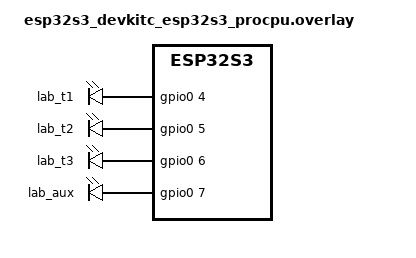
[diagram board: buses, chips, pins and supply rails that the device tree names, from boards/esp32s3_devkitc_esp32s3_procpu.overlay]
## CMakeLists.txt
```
cmake_minimum_required(VERSION 3.20.0)
find_package(Zephyr REQUIRED HINTS $ENV{ZEPHYR_BASE})
project(sched_labs)

target_sources(app PRIVATE src/main.c src/instr.c src/burn.c)
target_sources_ifdef(CONFIG_SCHED_LAB_RM  app PRIVATE src/lab06.c)
target_sources_ifdef(CONFIG_SCHED_LAB_EDF app PRIVATE src/lab06.c)
target_sources_ifdef(CONFIG_SCHED_LAB_NOLOCK    app PRIVATE src/lab07.c)
target_sources_ifdef(CONFIG_SCHED_LAB_INVERSION app PRIVATE src/lab07.c)
target_sources_ifdef(CONFIG_SCHED_LAB_PI        app PRIVATE src/lab07.c)
```

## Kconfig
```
choice SCHED_LAB
	prompt "Scheduling lab scenario"
	default SCHED_LAB_RM

config SCHED_LAB_RM
	bool "Lab 06 Task A: three periodic tasks, rate-monotonic fixed priorities"

config SCHED_LAB_EDF
	bool "Lab 06 Task A: the same three tasks, earliest deadline first"
	select SCHED_DEADLINE

config SCHED_LAB_NOLOCK
	bool "Lab 07 baseline: control never takes the lock"

config SCHED_LAB_INVERSION
	bool "Lab 07 Task B: a bare k_sem of 1 used as the lock (priority inversion)"

config SCHED_LAB_PI
	bool "Lab 07 Task C: a k_mutex as the lock (priority inheritance)"

endchoice

config SCHED_LAB_RUN_S
	int "Seconds the scenario runs before it stops and prints its summary"
	default 20
	range 1 300

source "Kconfig.zephyr"
```

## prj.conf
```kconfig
CONFIG_GPIO=y
CONFIG_SERIAL=y
CONFIG_CONSOLE=y
CONFIG_UART_CONSOLE=y
# 1 ms tick: the task set is expressed in whole milliseconds.
CONFIG_SYS_CLOCK_TICKS_PER_SEC=1000
# main only starts the scenario and prints; it must sit below every task.
CONFIG_MAIN_THREAD_PRIORITY=10
CONFIG_MAIN_STACK_SIZE=2048
# Equal-priority threads must not be time-sliced: EDF orders them by deadline.
CONFIG_TIMESLICING=n
```

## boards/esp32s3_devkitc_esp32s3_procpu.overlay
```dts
/*
 * ESP32-S3-DevKitC-1 instrumentation pins for the scheduling labs.
 * Four consecutive header pins -> channels D0..D3 of the logic analyzer.
 *
 *   D0 GPIO4  lab_t1   Lab 06: tau1 busy (first dispatch of a job -> completion)
 *                      Lab 07: control busy (first dispatch -> completion)
 *   D1 GPIO5  lab_t2   Lab 06: tau2 busy        Lab 07: medium busy
 *   D2 GPIO6  lab_t3   Lab 06: tau3 busy        Lab 07: slow task HOLDING the lock
 *   D3 GPIO7  lab_aux  Lab 06: deadline-miss latch (rises at the first miss)
 *                      Lab 07: control blocked, waiting for the lock
 *
 * Console: uart0 (UART jack), 115200 8N1.
 */

#include <zephyr/dt-bindings/gpio/gpio.h>

/ {
	instr {
		compatible = "gpio-leds";
		lab_t1: lab_t1 { gpios = <&gpio0 4 GPIO_ACTIVE_HIGH>; };
		lab_t2: lab_t2 { gpios = <&gpio0 5 GPIO_ACTIVE_HIGH>; };
		lab_t3: lab_t3 { gpios = <&gpio0 6 GPIO_ACTIVE_HIGH>; };
		lab_aux: lab_aux { gpios = <&gpio0 7 GPIO_ACTIVE_HIGH>; };
	};
};
```

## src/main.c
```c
/*
 * Scheduling labs (weeks 6 and 7): synthetic task sets on the ESP32-S3, measured
 * with the logic analyzer. The scenario is chosen at build time (see Kconfig).
 */
#include <zephyr/kernel.h>
#include <zephyr/sys/printk.h>

#include "burn.h"
#include "instr.h"
#include "scenario.h"

#define BURN_CHECK_MS 10 /* calibration self-check: burn this long, report wall time */

int main(void)
{
	int rc = instr_init();

	if (rc != 0) {
		printk("instrumentation pins failed (%d)\n", rc);
		return rc;
	}
	rc = burn_calibrate();
	if (rc != 0) {
		printk("burn calibration failed (%d)\n", rc);
		return rc;
	}

	printk("sched_labs: %s\n", scenario_name());
	printk("burn_ms(%d) took %u us with nothing else running\n", BURN_CHECK_MS,
	       burn_measure_us(BURN_CHECK_MS));

	rc = scenario_run();
	printk("scenario finished (%d)\n", rc);
	return rc;
}
```

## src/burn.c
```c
#include <errno.h>
#include <zephyr/kernel.h>

#include "burn.h"

#define CAL_ITERS 2000000U /* ~tens of ms: long enough to average the tick ISR out */

static uint32_t iters_per_ms;

/* Deliberate busy-wait: this loop IS the synthetic computation. It runs inside a
 * periodic task on purpose, because the schedulability labs need a task that
 * consumes a known amount of CPU. `volatile` keeps the compiler from deleting it. */
static void spin(uint32_t iters)
{
	for (volatile uint32_t i = 0; i < iters; i++) {
	}
}

int burn_calibrate(void)
{
	uint32_t start = k_cycle_get_32();
	uint32_t cycles;
	uint64_t cycles_per_ms;

	spin(CAL_ITERS);
	cycles = k_cycle_get_32() - start;
	if (cycles == 0U) {
		return -EIO;
	}
	cycles_per_ms = sys_clock_hw_cycles_per_sec() / MSEC_PER_SEC;
	iters_per_ms = (uint32_t)(((uint64_t)CAL_ITERS * cycles_per_ms) / cycles);
	return iters_per_ms > 0U ? 0 : -EIO;
}

void burn_ms(uint32_t ms)
{
	spin(ms * iters_per_ms);
}

uint32_t burn_measure_us(uint32_t ms)
{
	uint32_t start = k_cycle_get_32();

	burn_ms(ms);
	return k_cyc_to_us_floor32(k_cycle_get_32() - start);
}
```

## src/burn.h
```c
/* A calibrated CPU burner: the "computation" of a synthetic task. */
#ifndef SCHED_LABS_BURN_H_
#define SCHED_LABS_BURN_H_

#include <stdint.h>

/* Measure how many loop iterations fit in one millisecond. Call once at boot,
 * before any task runs. Returns 0, or -EIO if the cycle counter did not move. */
int burn_calibrate(void);

/* Consume `ms` milliseconds of CPU time. The loop is counted in iterations, not
 * in wall-clock time, so a preemption stretches its wall time instead of
 * shortening the work: that is what makes it a stand-in for C_i. */
void burn_ms(uint32_t ms);

/* Wall time, in microseconds, that burn_ms(ms) takes when nothing else runs. */
uint32_t burn_measure_us(uint32_t ms);

#endif /* SCHED_LABS_BURN_H_ */
```

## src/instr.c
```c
#include <errno.h>
#include <zephyr/drivers/gpio.h>

#include "instr.h"

#define LAB_PIN_SPEC(node) GPIO_DT_SPEC_GET(DT_NODELABEL(node), gpios)

static const struct gpio_dt_spec pins[LAB_PIN_COUNT] = {
	[LAB_PIN_T1] = LAB_PIN_SPEC(lab_t1),
	[LAB_PIN_T2] = LAB_PIN_SPEC(lab_t2),
	[LAB_PIN_T3] = LAB_PIN_SPEC(lab_t3),
	[LAB_PIN_AUX] = LAB_PIN_SPEC(lab_aux),
};

int instr_init(void)
{
	for (size_t i = 0; i < LAB_PIN_COUNT; i++) {
		int rc;

		if (!gpio_is_ready_dt(&pins[i])) {
			return -ENODEV;
		}
		rc = gpio_pin_configure_dt(&pins[i], GPIO_OUTPUT_INACTIVE);
		if (rc != 0) {
			return rc;
		}
	}
	return 0;
}

void instr_set(enum lab_pin pin, int level)
{
	/* Instrumentation: checking the result would lengthen every edge the
	 * analyzer measures, and there is nothing to do about a failed edge. */
	(void)gpio_pin_set_dt(&pins[pin], level);
}
```

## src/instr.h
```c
/* Instrumentation pins shared by the scheduling-lab scenarios (see the overlay). */
#ifndef SCHED_LABS_INSTR_H_
#define SCHED_LABS_INSTR_H_

enum lab_pin {
	LAB_PIN_T1,
	LAB_PIN_T2,
	LAB_PIN_T3,
	LAB_PIN_AUX,
	LAB_PIN_COUNT,
};

/* Configure every pin as an inactive output. Returns 0 or a negative errno. */
int instr_init(void);

/* Drive one pin. A failed edge is not actionable, so there is no return value. */
void instr_set(enum lab_pin pin, int level);

#endif /* SCHED_LABS_INSTR_H_ */
```

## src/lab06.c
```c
/*
 * Lab 06 Task A — a task set that rate-monotonic scheduling misses and EDF meets.
 *
 * Three periodic tasks with implicit deadlines (D = T), released together at t = 0
 * (the critical instant). A task's "computation" is a calibrated busy-wait
 * (burn_ms), so a preemption stretches its wall time exactly as it would a real
 * C_i.
 *
 *   RM  (CONFIG_SCHED_LAB_RM):  fixed priorities, shorter period = higher priority.
 *   EDF (CONFIG_SCHED_LAB_EDF): one priority for all; each job's absolute deadline is
 *                               set with k_thread_deadline_set and the kernel runs
 *                               the earliest one (CONFIG_SCHED_DEADLINE).
 *
 * The set is a synthetic stand-in for the book's Fig. 4.13 (those numbers are not in
 * the repository): U = 0.967, one time unit = 10 ms. tools/scripts/sched_sim.py
 * predicts the outcome of both policies for exactly this table.
 *
 * Instrumentation: D0..D2 are high while a job of tau1..tau3 is running or preempted
 * (first dispatch -> completion); D3 latches high at the first missed deadline.
 */
#include <stdint.h>
#include <zephyr/kernel.h>
#include <zephyr/sys/atomic.h>
#include <zephyr/sys/printk.h>
#include <zephyr/sys/util.h>

#include "burn.h"
#include "instr.h"
#include "scenario.h"

#define TASK_COUNT 3

#define TAU1_C_MS 10
#define TAU1_T_MS 50
#define TAU2_C_MS 30
#define TAU2_T_MS 60
#define TAU3_C_MS 40
#define TAU3_T_MS 150

#define BASE_PRIO   3    /* main runs at 10, below every task */
#define STACK_SIZE  1024
#define QUEUE_DEPTH 4    /* releases that may queue behind a late job */
#define QUEUE_ALIGN 4
#define DRAIN_MS    1000 /* let late jobs finish before the summary */
#define CYCLES_PER_MS (sys_clock_hw_cycles_per_sec() / MSEC_PER_SEC)

struct task_def {
	const char *name;
	uint32_t c_ms;
	uint32_t t_ms; /* period = relative deadline */
	enum lab_pin pin;
};

static const struct task_def defs[TASK_COUNT] = {
	{ "tau1", TAU1_C_MS, TAU1_T_MS, LAB_PIN_T1 },
	{ "tau2", TAU2_C_MS, TAU2_T_MS, LAB_PIN_T2 },
	{ "tau3", TAU3_C_MS, TAU3_T_MS, LAB_PIN_T3 },
};

struct task_stats {
	atomic_t pending;  /* released and not yet completed */
	atomic_t jobs;     /* completed */
	atomic_t misses;   /* completed with response time above the deadline */
	atomic_t dropped;  /* releases lost because the release queue was full */
	atomic_t worst_us; /* worst release -> completion */
};

static struct task_stats stats[TASK_COUNT];
static struct k_timer timers[TASK_COUNT];

K_MSGQ_DEFINE_STATIC(release_q_0, sizeof(uint32_t), QUEUE_DEPTH, QUEUE_ALIGN);
K_MSGQ_DEFINE_STATIC(release_q_1, sizeof(uint32_t), QUEUE_DEPTH, QUEUE_ALIGN);
K_MSGQ_DEFINE_STATIC(release_q_2, sizeof(uint32_t), QUEUE_DEPTH, QUEUE_ALIGN);
static struct k_msgq *const release_q[TASK_COUNT] = {
	&release_q_0, &release_q_1, &release_q_2,
};

#ifdef CONFIG_SCHED_LAB_EDF
#define TASK_PRIO(i) BASE_PRIO       /* one priority: the deadline decides */
#else
#define TASK_PRIO(i) (BASE_PRIO + (i)) /* shorter period -> lower number */
#endif

const char *scenario_name(void)
{
#ifdef CONFIG_SCHED_LAB_EDF
	return "Lab 06 Task A — EDF (SCHED_DEADLINE)";
#else
	return "Lab 06 Task A — rate-monotonic";
#endif
}

/* The timer expires in ISR context: stamp the release, queue it, return. */
static void release_isr(struct k_timer *timer)
{
	const uint32_t i = POINTER_TO_UINT(k_timer_user_data_get(timer));
	uint32_t stamp = k_cycle_get_32();

	/* D = T: if the previous job is still unfinished, its deadline just passed. */
	if (atomic_get(&stats[i].pending) > 0) {
		instr_set(LAB_PIN_AUX, 1);
	}
	atomic_inc(&stats[i].pending);
	if (k_msgq_put(release_q[i], &stamp, K_NO_WAIT) != 0) {
		atomic_inc(&stats[i].dropped);
		atomic_dec(&stats[i].pending);
	}
}

static void finish_job(uint32_t i, uint32_t released, uint32_t now, uint32_t period_cyc)
{
	uint32_t response = now - released;
	atomic_val_t us = k_cyc_to_us_floor32(response);

	if (response > period_cyc) {
		atomic_inc(&stats[i].misses);
	}
	if (us > atomic_get(&stats[i].worst_us)) {
		atomic_set(&stats[i].worst_us, us); /* single writer: this task */
	}
	atomic_inc(&stats[i].jobs);

#ifdef CONFIG_SCHED_LAB_EDF
	/* The next job's absolute deadline is its release (released + T) plus T. Set it
	 * now, so it is already in place when that release makes this thread ready. */
	int32_t next = (int32_t)(released + 2U * period_cyc - now);

	k_thread_deadline_set(k_current_get(), MAX(next, 0));
#endif
}

static void periodic_thread(void *p1, void *p2, void *p3)
{
	const uint32_t i = POINTER_TO_UINT(p1);
	const struct task_def *d = &defs[i];
	const uint32_t period_cyc = d->t_ms * CYCLES_PER_MS;
	uint32_t released;
	uint32_t done;

	while (1) {
		if (k_msgq_get(release_q[i], &released, K_FOREVER) != 0) {
			continue;
		}
		instr_set(d->pin, 1);
		burn_ms(d->c_ms);
		done = k_cycle_get_32();
		/* Before the edge: a release landing now must not see this job as unfinished. */
		atomic_dec(&stats[i].pending);
		instr_set(d->pin, 0);
		finish_job(i, released, done, period_cyc);
	}
}

K_THREAD_DEFINE(tau1_tid, STACK_SIZE, periodic_thread, UINT_TO_POINTER(0), NULL, NULL,
		TASK_PRIO(0), 0, 0);
K_THREAD_DEFINE(tau2_tid, STACK_SIZE, periodic_thread, UINT_TO_POINTER(1), NULL, NULL,
		TASK_PRIO(1), 0, 0);
K_THREAD_DEFINE(tau3_tid, STACK_SIZE, periodic_thread, UINT_TO_POINTER(2), NULL, NULL,
		TASK_PRIO(2), 0, 0);

static void print_summary(void)
{
	bool any_miss = false;

	printk("\n%-5s %6s %6s %6s %7s %8s %11s\n", "task", "C[ms]", "T[ms]", "jobs",
	       "misses", "dropped", "worst[ms]");
	for (size_t i = 0; i < TASK_COUNT; i++) {
		unsigned int worst = (unsigned int)atomic_get(&stats[i].worst_us);

		printk("%-5s %6u %6u %6ld %7ld %8ld %7u.%03u\n", defs[i].name, defs[i].c_ms,
		       defs[i].t_ms, (long)atomic_get(&stats[i].jobs),
		       (long)atomic_get(&stats[i].misses), (long)atomic_get(&stats[i].dropped),
		       worst / USEC_PER_MSEC, worst % USEC_PER_MSEC);
		any_miss = any_miss || atomic_get(&stats[i].misses) > 0;
	}
	printk("deadline missed: %s\n", any_miss ? "YES" : "no");
}

int scenario_run(void)
{
#ifdef CONFIG_SCHED_LAB_EDF
	const k_tid_t tids[TASK_COUNT] = { tau1_tid, tau2_tid, tau3_tid };
#endif
	unsigned int key;

	for (size_t i = 0; i < TASK_COUNT; i++) {
		printk("%s: C = %u ms, T = D = %u ms\n", defs[i].name, defs[i].c_ms,
		       defs[i].t_ms);
		k_timer_init(&timers[i], release_isr, NULL);
		k_timer_user_data_set(&timers[i], UINT_TO_POINTER(i));
#ifdef CONFIG_SCHED_LAB_EDF
		/* First job: absolute deadline = now + T (the release is about to happen). */
		k_thread_deadline_set(tids[i], (int)(defs[i].t_ms * CYCLES_PER_MS));
#endif
	}
	instr_set(LAB_PIN_AUX, 0);

	/* All three timers inside one tick: a synchronous release is the critical instant.
	 * One-off, from main, a few microseconds: the lock cannot hurt a periodic task. */
	key = irq_lock();
	for (size_t i = 0; i < TASK_COUNT; i++) {
		k_timer_start(&timers[i], K_NO_WAIT, K_MSEC(defs[i].t_ms));
	}
	irq_unlock(key);

	k_msleep(CONFIG_SCHED_LAB_RUN_S * MSEC_PER_SEC);
	for (size_t i = 0; i < TASK_COUNT; i++) {
		k_timer_stop(&timers[i]);
	}
	k_msleep(DRAIN_MS);
	print_summary();
	return 0;
}
```

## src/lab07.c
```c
/*
 * Lab 07 Task B/C — priority inversion, reproduced and closed.
 *
 * Three tasks, released once per episode (EPISODE_MS), by timers whose offsets set the
 * classic sequence:
 *
 *   t = 0    slow    (low priority)    takes the lock and starts its critical section
 *   t = 1    control (high priority)   asks for the lock -> blocks
 *   t = 2    medium  (medium priority) does not use the lock; becomes ready
 *
 * Without priority inheritance (CONFIG_SCHED_LAB_INVERSION: a k_sem of 1 as the lock)
 * medium preempts slow, so slow cannot finish its critical section and control waits for
 * slow AND medium. With a k_mutex (CONFIG_SCHED_LAB_PI) slow inherits control's priority
 * while it holds the lock, medium cannot preempt it, and control waits only for the rest
 * of the critical section. CONFIG_SCHED_LAB_NOLOCK is the baseline: nobody takes the lock.
 *
 * Instrumentation: D0 control busy, D1 medium busy, D2 slow holding the lock, D3 control
 * blocked waiting for the lock. The numbers predicted for this exact set are produced by
 * tools/scripts/rta.py (presets lab07-nolock / lab07-inversion / lab07-pi).
 */
#include <stdint.h>
#include <zephyr/kernel.h>
#include <zephyr/sys/atomic.h>
#include <zephyr/sys/printk.h>
#include <zephyr/sys/util.h>

#include "burn.h"
#include "instr.h"
#include "scenario.h"

#define CONTROL_C_MS      1    /* control job, entirely inside the lock when it uses one */
#define MEDIUM_C_MS       10   /* medium job, never takes the lock */
#define SLOW_CS_MS        4    /* slow job = its critical section */
#define EPISODE_MS        100
#define CONTROL_OFFSET_MS 1    /* control is released this long after slow */
#define MEDIUM_OFFSET_MS  2
#define CONTROL_DEADLINE_US 5000 /* the e-stop deadline */

#define CONTROL_PRIO 2
#define MEDIUM_PRIO  4
#define SLOW_PRIO    6
#define STACK_SIZE   1024
#define DRAIN_MS     200 /* let the last episode finish before the summary */

enum task_id { TASK_CONTROL, TASK_MEDIUM, TASK_SLOW, TASK_COUNT };

#if defined(CONFIG_SCHED_LAB_INVERSION)
/* A bare binary semaphore used as a lock: nothing raises the owner's priority. */
static K_SEM_DEFINE(lock, 1, 1);

static int lock_take(void)
{
	return k_sem_take(&lock, K_FOREVER);
}

static int lock_give(void)
{
	k_sem_give(&lock);
	return 0;
}
#elif defined(CONFIG_SCHED_LAB_PI)
/* Zephyr's k_mutex inherits the priority of its highest-priority waiter. */
static K_MUTEX_DEFINE(lock);

static int lock_take(void)
{
	return k_mutex_lock(&lock, K_FOREVER);
}

static int lock_give(void)
{
	return k_mutex_unlock(&lock);
}
#else
/* Baseline: no shared lock at all. */
static int lock_take(void)
{
	return 0;
}

static int lock_give(void)
{
	return 0;
}
#endif

static struct k_timer timers[TASK_COUNT];
/* Statically defined: the task threads start at boot, before main runs, and block on
 * these at once, so they must be valid objects from the first instruction. */
static K_SEM_DEFINE(release_sem_control, 0, 1);
static K_SEM_DEFINE(release_sem_medium, 0, 1);
static K_SEM_DEFINE(release_sem_slow, 0, 1);
static struct k_sem *const release_sem[TASK_COUNT] = {
	[TASK_CONTROL] = &release_sem_control,
	[TASK_MEDIUM] = &release_sem_medium,
	[TASK_SLOW] = &release_sem_slow,
};
static atomic_t release_cyc[TASK_COUNT]; /* cycle stamp of the latest release */

static atomic_t control_jobs;
static atomic_t control_misses;      /* response above CONTROL_DEADLINE_US */
static atomic_t control_worst_us;    /* worst release -> completion: the R of the lab */
static atomic_t control_block_us;    /* worst time spent waiting for the lock */
static atomic_t medium_jobs;
static atomic_t slow_jobs;
static atomic_t slow_cs_worst_us;    /* worst wall time slow held the lock: B_i */
static atomic_t lock_errors;         /* failed lock calls */

const char *scenario_name(void)
{
#if defined(CONFIG_SCHED_LAB_INVERSION)
	return "Lab 07 Task B — bare semaphore as lock (priority inversion)";
#elif defined(CONFIG_SCHED_LAB_PI)
	return "Lab 07 Task C — k_mutex with priority inheritance";
#else
	return "Lab 07 baseline — no lock";
#endif
}

static void note_max(atomic_t *peak, uint32_t cycles)
{
	atomic_val_t us = k_cyc_to_us_floor32(cycles);

	if (us > atomic_get(peak)) {
		atomic_set(peak, us); /* single writer: the task that owns the statistic */
	}
}

/* Timer expiry (ISR): stamp the release and wake the task. */
static void release_isr(struct k_timer *timer)
{
	const uint32_t i = POINTER_TO_UINT(k_timer_user_data_get(timer));

	atomic_set(&release_cyc[i], (atomic_val_t)k_cycle_get_32());
	k_sem_give(release_sem[i]);
}

static void control_thread(void *p1, void *p2, void *p3)
{
	while (1) {
		if (k_sem_take(release_sem[TASK_CONTROL], K_FOREVER) != 0) {
			continue;
		}
		const uint32_t released = (uint32_t)atomic_get(&release_cyc[TASK_CONTROL]);

		instr_set(LAB_PIN_T1, 1);
		instr_set(LAB_PIN_AUX, 1); /* blocked until it holds the lock */
		const uint32_t asked = k_cycle_get_32();

		if (lock_take() != 0) {
			atomic_inc(&lock_errors);
			instr_set(LAB_PIN_AUX, 0);
			instr_set(LAB_PIN_T1, 0);
			continue;
		}
		const uint32_t got = k_cycle_get_32();

		instr_set(LAB_PIN_AUX, 0);
		burn_ms(CONTROL_C_MS);
		if (lock_give() != 0) {
			atomic_inc(&lock_errors);
		}
		const uint32_t done = k_cycle_get_32();

		instr_set(LAB_PIN_T1, 0);
		note_max(&control_block_us, got - asked);
		note_max(&control_worst_us, done - released);
		if (k_cyc_to_us_floor32(done - released) > CONTROL_DEADLINE_US) {
			atomic_inc(&control_misses);
		}
		atomic_inc(&control_jobs);
	}
}

static void medium_thread(void *p1, void *p2, void *p3)
{
	while (1) {
		if (k_sem_take(release_sem[TASK_MEDIUM], K_FOREVER) != 0) {
			continue;
		}
		instr_set(LAB_PIN_T2, 1);
		burn_ms(MEDIUM_C_MS);
		instr_set(LAB_PIN_T2, 0);
		atomic_inc(&medium_jobs);
	}
}

static void slow_thread(void *p1, void *p2, void *p3)
{
	while (1) {
		if (k_sem_take(release_sem[TASK_SLOW], K_FOREVER) != 0) {
			continue;
		}
		if (lock_take() != 0) {
			atomic_inc(&lock_errors);
			continue;
		}
		const uint32_t start = k_cycle_get_32();

		instr_set(LAB_PIN_T3, 1);
		burn_ms(SLOW_CS_MS);
		const uint32_t end = k_cycle_get_32();

		instr_set(LAB_PIN_T3, 0);
		if (lock_give() != 0) {
			atomic_inc(&lock_errors);
		}
		note_max(&slow_cs_worst_us, end - start);
		atomic_inc(&slow_jobs);
	}
}

K_THREAD_DEFINE(control_tid, STACK_SIZE, control_thread, NULL, NULL, NULL, CONTROL_PRIO, 0, 0);
K_THREAD_DEFINE(medium_tid, STACK_SIZE, medium_thread, NULL, NULL, NULL, MEDIUM_PRIO, 0, 0);
K_THREAD_DEFINE(slow_tid, STACK_SIZE, slow_thread, NULL, NULL, NULL, SLOW_PRIO, 0, 0);

static void print_summary(void)
{
	const unsigned int worst = (unsigned int)atomic_get(&control_worst_us);
	const unsigned int block = (unsigned int)atomic_get(&control_block_us);
	const unsigned int cs = (unsigned int)atomic_get(&slow_cs_worst_us);

	printk("\ncontrol jobs     : %ld\n", (long)atomic_get(&control_jobs));
	printk("medium jobs      : %ld\n", (long)atomic_get(&medium_jobs));
	printk("slow jobs        : %ld\n", (long)atomic_get(&slow_jobs));
	printk("max R control    : %u.%03u ms   (deadline %u ms, misses: %ld)\n",
	       worst / USEC_PER_MSEC, worst % USEC_PER_MSEC,
	       CONTROL_DEADLINE_US / USEC_PER_MSEC, (long)atomic_get(&control_misses));
	printk("max lock wait    : %u.%03u ms   (control, request -> acquired)\n",
	       block / USEC_PER_MSEC, block % USEC_PER_MSEC);
	printk("max slow CS wall : %u.%03u ms   (B_i, lock held; includes any preemption)\n",
	       cs / USEC_PER_MSEC, cs % USEC_PER_MSEC);
	printk("lock errors      : %ld\n", (long)atomic_get(&lock_errors));
}

int scenario_run(void)
{
	static const uint32_t offset_ms[TASK_COUNT] = {
		[TASK_CONTROL] = CONTROL_OFFSET_MS,
		[TASK_MEDIUM] = MEDIUM_OFFSET_MS,
		[TASK_SLOW] = 0,
	};
	unsigned int key;

	for (size_t i = 0; i < TASK_COUNT; i++) {
		k_timer_init(&timers[i], release_isr, NULL);
		k_timer_user_data_set(&timers[i], UINT_TO_POINTER(i));
	}
	instr_set(LAB_PIN_AUX, 0);
	printk("episode %d ms: slow at +0, control at +%d, medium at +%d (ms)\n", EPISODE_MS,
	       CONTROL_OFFSET_MS, MEDIUM_OFFSET_MS);

	/* One-off, from main, a few microseconds: all three timers inside the same tick. */
	key = irq_lock();
	for (size_t i = 0; i < TASK_COUNT; i++) {
		k_timer_start(&timers[i], K_MSEC(offset_ms[i]), K_MSEC(EPISODE_MS));
	}
	irq_unlock(key);

	k_msleep(CONFIG_SCHED_LAB_RUN_S * MSEC_PER_SEC);
	for (size_t i = 0; i < TASK_COUNT; i++) {
		k_timer_stop(&timers[i]);
	}
	k_msleep(DRAIN_MS);
	print_summary();
	return 0;
}
```

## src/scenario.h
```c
/* Every scenario (Lab 06 RM/EDF, Lab 07 inversion/PI) implements this pair. */
#ifndef SCHED_LABS_SCENARIO_H_
#define SCHED_LABS_SCENARIO_H_

const char *scenario_name(void);

/* Run the configured scenario for CONFIG_SCHED_LAB_RUN_S seconds, then print its
 * summary. Returns 0, or a negative errno. */
int scenario_run(void);

#endif /* SCHED_LABS_SCENARIO_H_ */
```
